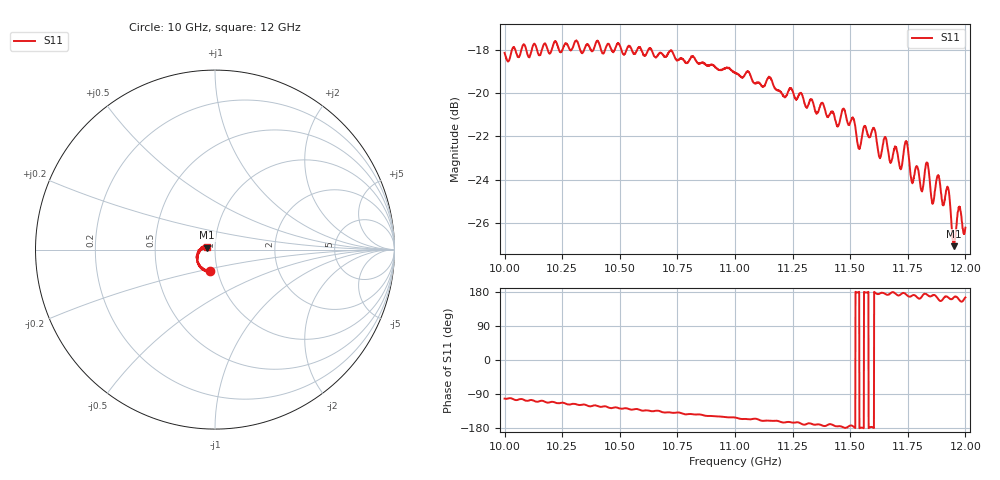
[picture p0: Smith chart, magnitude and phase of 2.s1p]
[Version] 2.0
! Rohde & Schwarz Vector Network Analyzer
! Rohde-Schwarz,ZNL20-2Port,1323001220200009,1.71.1.10-23.02.1.238
! Port Assignments:
! Nominal Port -> Actual Test Port
!  1 -> 1
! Created: GMT 2024-09-04 10:30:03
# Hz S DB R 50
[Number of Ports] 1
! freq[Hz]  S11[mag dB]  S11[ang]
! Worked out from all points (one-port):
!   2001 points, 10 GHz to 12 GHz, reference 50 ohm
!   lowest |S11| = -27.1 dB at 11.95 GHz (marker M1), VSWR 1.09, Z = 45.9 + j1.03 ohm
!   |S11| at or under -10 dB: start of sweep to end of sweep
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[Number of Frequencies] 28
[Network Data]
1e10  -18.13 -101.9
1.025e10  -18.00 -112.7
1.05e10  -17.79 -127.9
1.075e10  -18.48 -138.5
1.1e10  -19.03 -151.6
1.125e10  -19.89 -165.2
1.15e10  -21.36 -172.8
1.1539e10  -22.53 179.9
1.1564e10  -21.54 178.6
1.1604e10  -21.63 179.8
1.1628e10  -22.98 175.3
1.1652e10  -22.05 174.3
1.1674e10  -23.20 175.9
1.1697e10  -22.48 174.5
1.1718e10  -23.44 172.3
1.174e10  -22.24 174.4
1.175e10  -22.51 169.2
1.1769e10  -24.13 170.0
1.179e10  -23.38 165.8
1.1812e10  -24.54 168.1
1.1833e10  -23.22 172.8
1.1857e10  -25.10 170.7
1.188e10  -23.81 162.3
1.1903e10  -25.13 160.8
1.1923e10  -24.37 166.0
1.195e10  -27.07 165.4
1.1973e10  -25.29 158.9
1.2e10  -26.22 165.0
[End]
